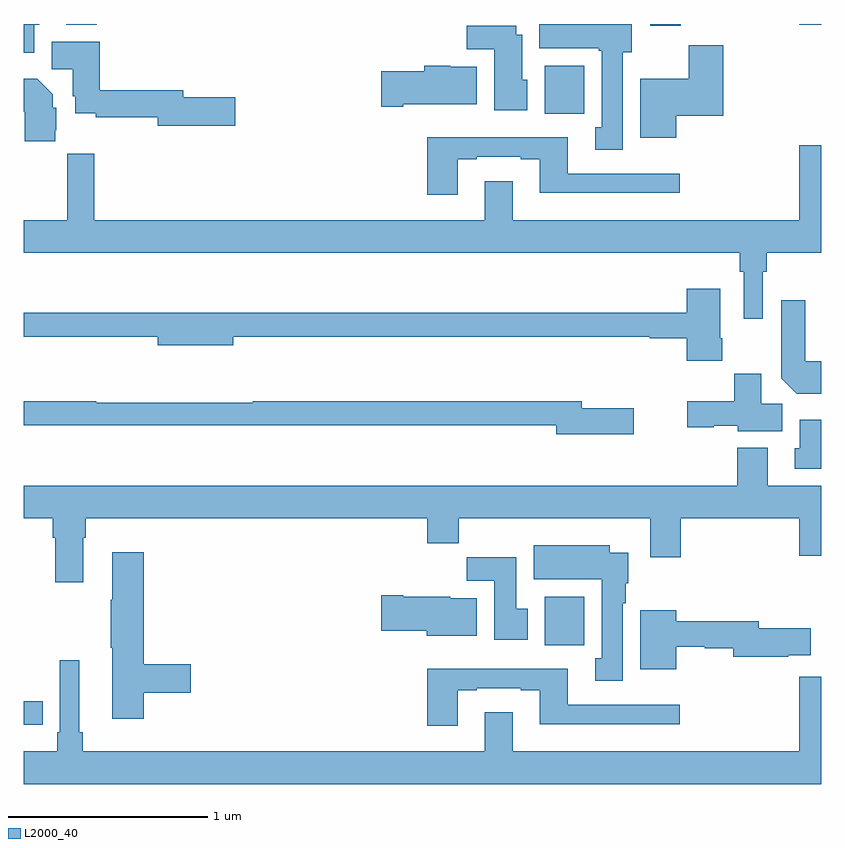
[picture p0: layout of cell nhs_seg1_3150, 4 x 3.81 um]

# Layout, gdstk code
import gdstk
lib = gdstk.Library(unit=1e-6, precision=1e-09)
def R(c, l, rs):  # rectangles x0, y0, x1, y1
    for r in rs: c.add(gdstk.rectangle(r[:2], r[2:], *l))
def P(c, l, *ps):  # polygons
    for p in ps: c.add(gdstk.Polygon(p, *l))
L2000_40 = (2000, 40)

nhs_seg1_3150 = lib.new_cell('nhs_seg1_3150')
R(nhs_seg1_3150, L2000_40, [(281,562.686,281.096,562.802), (283.613,563.084,283.81,563.326), (283.613,565.748,283.81,565.99), (284.141,566.19,284.294,566.199), (281.213,566.195,281.366,566.199), (284.888,566.196,285,566.199)])
P(nhs_seg1_3150, L2000_40, [(281.053,566.196),(281.077,566.196),(281.077,566.199),(281,566.199),(281,566.054),(281.053,566.054)],
  [(284.005,566.058),(284.05,566.058),(284.05,566.199),(283.586,566.199),(283.586,566.078),(283.885,566.078),(283.885,566.065),(283.898,566.065),(283.898,565.682),(283.865,565.682),(283.865,565.569),(284.005,565.569)],
  [(283.525,565.92),(283.501,565.92),(283.501,566.146),(283.471,566.146),(283.471,566.191),(283.222,566.191),(283.222,566.072),(283.361,566.072),(283.361,565.766),(283.525,565.766)],
  [(282.061,565.832),(281.8,565.832),(281.8,565.868),(281.381,565.868),(281.381,566.11),(281.141,566.11),(281.141,565.972),(281.246,565.972),(281.246,565.836),(281.258,565.836),(281.258,565.751),(281.362,565.751),(281.362,565.732),(281.672,565.732),(281.672,565.69),(282.061,565.69)],
  [(284.272,565.739),(284.507,565.739),(284.507,566.092),(284.336,566.092),(284.336,565.924),(284.093,565.924),(284.093,565.628),(284.272,565.628)],
  [(282.904,565.796),(283.273,565.796),(283.273,565.984),(283.14,565.984),(283.14,565.99),(283.01,565.99),(283.01,565.962),(282.792,565.962),(282.792,565.784),(282.904,565.784)],
  [(281.159,565.665),(281.164,565.665),(281.164,565.779),(281.146,565.779),(281.146,565.846),(281.068,565.924),(281,565.924),(281,565.76),(281.006,565.76),(281.006,565.61),(281.159,565.61)],
  [(283.177,565.521),(283.273,565.521),(283.273,565.533),(283.493,565.533),(283.493,565.521),(283.589,565.521),(283.589,565.352),(284.29,565.352),(284.29,565.449),(283.729,565.449),(283.729,565.63),(283.025,565.63),(283.025,565.344),(283.177,565.344)],
  [(284.706,564.956),(284.726,564.956),(284.726,565.052),(285,565.052),(285,565.591),(284.888,565.591),(284.888,565.216),(283.453,565.216),(283.453,565.411),(283.313,565.411),(283.313,565.216),(281.354,565.216),(281.354,565.549),(281.218,565.549),(281.218,565.216),(281,565.216),(281,565.052),(284.59,565.052),(284.59,564.956),(284.61,564.956),(284.61,564.72),(284.706,564.72)],
  [(284.502,564.622),(284.494,564.622),(284.494,564.871),(284.324,564.871),(284.324,564.751),(281,564.751),(281,564.63),(281.672,564.63),(281.672,564.587),(282.052,564.587),(282.052,564.63),(284.14,564.63),(284.14,564.622),(284.324,564.622),(284.324,564.51),(284.502,564.51)],
  [(285,564.508),(284.92,564.508),(284.92,564.814),(284.798,564.814),(284.798,564.422),(284.876,564.344),(285,564.344)],
  [(284.803,564.296),(284.698,564.296),(284.698,564.445),(284.564,564.445),(284.564,564.307),(284.328,564.307),(284.328,564.178),(284.46,564.178),(284.46,564.185),(284.58,564.185),(284.58,564.158),(284.803,564.158)],
  [(284.059,564.273),(283.798,564.273),(283.798,564.307),(282.15,564.307),(282.15,564.299),(281.363,564.299),(281.363,564.307),(281,564.307),(281,564.186),(283.67,564.186),(283.67,564.143),(284.059,564.143)],
  [(285,564.214),(284.891,564.214),(284.891,564.072),(284.867,564.072),(284.867,563.97),(285,563.97)],
  [(281.299,563.624),(281.312,563.624),(281.312,563.72),(283.025,563.72),(283.025,563.596),(283.181,563.596),(283.181,563.72),(284.141,563.72),(284.141,563.526),(284.294,563.526),(284.294,563.72),(284.888,563.72),(284.888,563.532),(285,563.532),(285,563.884),(284.731,563.884),(284.731,564.073),(284.579,564.073),(284.579,563.884),(281,563.884),(281,563.72),(281.147,563.72),(281.147,563.624),(281.159,563.624),(281.159,563.4),(281.299,563.4)],
  [(284.005,563.294),(284.02,563.294),(284.02,563.394),(284.032,563.394),(284.032,563.548),(283.939,563.548),(283.939,563.584),(283.559,563.584),(283.559,563.414),(283.898,563.414),(283.898,563.018),(283.865,563.018),(283.865,562.905),(284.005,562.905)],
  [(281.603,562.846),(281.839,562.846),(281.839,562.988),(281.603,562.988),(281.603,563.551),(281.444,563.551),(281.444,563.312),(281.437,563.312),(281.437,563.071),(281.444,563.071),(281.444,562.716),(281.603,562.716)],
  [(283.528,563.268),(283.471,563.268),(283.471,563.526),(283.222,563.526),(283.222,563.408),(283.361,563.408),(283.361,563.112),(283.528,563.112)],
  [(283.273,563.32),(283.14,563.32),(283.14,563.326),(282.904,563.326),(282.904,563.334),(282.792,563.334),(282.792,563.156),(283.022,563.156),(283.022,563.132),(283.273,563.132)],
  [(284.272,563.076),(284.415,563.076),(284.415,563.068),(284.558,563.068),(284.558,563.026),(284.834,563.026),(284.834,563.033),(284.947,563.033),(284.947,563.168),(284.686,563.168),(284.686,563.204),(284.272,563.204),(284.272,563.26),(284.093,563.26),(284.093,562.964),(284.272,562.964)],
  [(285,562.927),(284.888,562.927),(284.888,562.552),(283.453,562.552),(283.453,562.747),(283.313,562.747),(283.313,562.552),(281.297,562.552),(281.297,562.648),(281.278,562.648),(281.278,563.008),(281.181,563.008),(281.181,562.648),(281.168,562.648),(281.168,562.552),(281,562.552),(281,562.388),(285,562.388)],
  [(283.177,562.857),(283.273,562.857),(283.273,562.869),(283.493,562.869),(283.493,562.857),(283.589,562.857),(283.589,562.688),(284.29,562.688),(284.29,562.785),(283.729,562.785),(283.729,562.966),(283.025,562.966),(283.025,562.68),(283.177,562.68)])

lib.write_gds('nhs_seg1_3150.gds')
